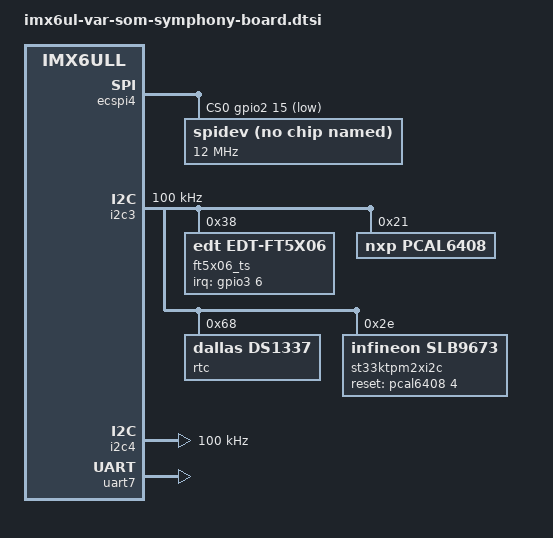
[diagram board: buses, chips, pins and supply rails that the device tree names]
/*
 * Copyright (C) 2022 Variscite Ltd. - https://www.variscite.com
 *
 * This program is free software; you can redistribute it and/or modify
 * it under the terms of the GNU General Public License version 2 as
 * published by the Free Software Foundation.
 */

#include "imx6ul-imx6ull-var-som-symphony-board.dtsi"

&ecspi4 {
	#address-cells = <1>;
	#size-cells = <0>;
	fsl,spi-num-chipselects = <1>;
	pinctrl-names = "default";
	pinctrl-0 = <&pinctrl_ecspi4 &pinctrl_ecspi4_cs>;
	cs-gpios = <&gpio2 15 GPIO_ACTIVE_LOW>;
	status = "okay";

	spidev@0 {
		compatible = "var,spidev";
		spi-max-frequency = <12000000>;
		reg = <0>;
		status = "okay";
	};
};

&i2c3 {
	clock-frequency = <100000>;
	pinctrl-names = "default";
	pinctrl-0 = <&pinctrl_i2c3>;
	status = "okay";

	ft5x06_ts@38 {
		compatible = "edt,edt-ft5x06";
		reg = <0x38>;
		pinctrl-names = "default";
		pinctrl-0 = <&pinctrl_ft5x06_ts_gpio>;
		interrupt-parent = <&gpio3>;
		interrupts = <6 0>;
		touchscreen-size-x = <800>;
		touchscreen-size-y = <480>;
		touchscreen-inverted-x;
		touchscreen-inverted-y;
	};

	/* GPIO Expander */
	pcal6408: gpio@21 {
		compatible = "nxp,pcal6408";
		reg = <0x21>;
		standard-regs-fallback;
		gpio-controller;
		#gpio-cells = <2>;
		status = "okay";

		/*
		* RGB_SEL
		* output-lo: Configure mux for VAR-SOMs LVDS
		* output-hi: Configure mux for VAR-SOM-MX91 RGB2LVDS
		*/
		rgb_sel {
			gpio-hog;
			gpios = <7 GPIO_ACTIVE_HIGH>;
			output-low;
			line-name = "rgb_sel";
		};

		/*
		* The SEC_RSTN line for the TPM2 module has an external
		* pull-down, keeping the module in reset by default.
		* Drive this signal high to release the TPM2 from reset.
		*/
		sec_resetn {
			gpio-hog;
			gpios = <4 GPIO_ACTIVE_HIGH>;
			output-high;
			line-name = "sec_rstn";
		};
	};

	/* DS1337 RTC module */
	rtc@68 {
		compatible = "dallas,ds1337";
		reg = <0x68>;
		pinctrl-names = "default";
	};

	/* TPM */
	st33ktpm2xi2c: st33ktpm2xi2c@2e {
		compatible = "infineon,slb9673";
		reg = <0x2e>;
		/*
		* reset-gpios is not used by the TPM driver, but forces
		* probe ordering: ensures GPIO expander is initialized
		* and sec_rstn GPIO hog has released TPM from reset
		* before the TPM driver probes.
		*/
		reset-gpios = <&pcal6408 4 GPIO_ACTIVE_HIGH>;
		status = "okay";
	};
};

&i2c4 {
	clock-frequency = <100000>;
	pinctrl-names = "default";
	pinctrl-0 = <&pinctrl_i2c4>;
	status = "okay";
};

/* ttymxc6 UART */
&uart7 {
	pinctrl-names = "default";
	pinctrl-0 = <&pinctrl_uart7>;
	status = "okay";
};
